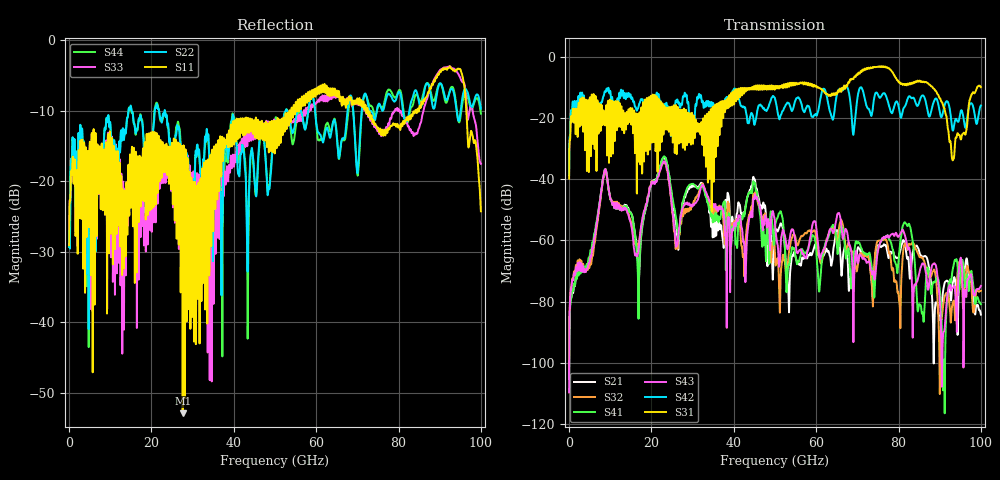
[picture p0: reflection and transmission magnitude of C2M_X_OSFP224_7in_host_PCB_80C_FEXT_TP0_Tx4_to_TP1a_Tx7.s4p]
# GHz S RI R 45
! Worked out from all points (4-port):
!   4000 points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, 25 MHz to 100 GHz, reference 45 ohm
!   strongest paths, dB at 25 MHz, 25.02 GHz, 50.02 GHz, 75.03 GHz, 100 GHz:
!     S31: -39.8, -16.9, -10.4, -3.3, -9.9
!     S42: -38.6, -22.1, -13.7, -12.5, -15.9
!     S43: -109.7, -49.7, -54.6, -63.2, -74.9
!     S41: -102.1, -45.7, -55.3, -62.8, -80.8
!     S32: -98.4, -50.7, -65.1, -60.2, -76.5
!     S21: -105.3, -46.6, -57.3, -61.6, -84.2
!   lowest |S11| = -52.9 dB at 27.6 GHz (marker M1), VSWR 1.00, Z = 45.1 + j0.185 ohm
!   |S11| at or under -10 dB: start of sweep to 53.54 GHz; 72.56 GHz to 84.06 GHz (11.5 GHz wide, 14.7 % of centre); 96.47 GHz to end of sweep (the widest 3 of 11)
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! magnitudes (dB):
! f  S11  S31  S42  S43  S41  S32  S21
! 25 MHz  -29.1  -39.8  -38.6  -109.7  -102.1  -98.4  -105.3
! 8.725 GHz  -24.5  -21.4  -11.3  -36.8  -36.8  -37.1  -37.0
! 16.8 GHz  -18.6  -21.2  -16.7  -64.2  -76.3  -61.7  -69.7
! 22.82 GHz  -16.4  -18.7  -17.1  -34.6  -32.9  -34.9  -33.3
! 27.6 GHz  -52.9  -24.8  -13.5  -49.5  -47.6  -51.3  -47.5
! 93.2 GHz  -4.2  -33.8  -24.1  -75.5  -69.3  -80.4  -73.8
! 100 GHz  -24.3  -9.9  -15.9  -74.9  -80.8  -76.5  -84.2
